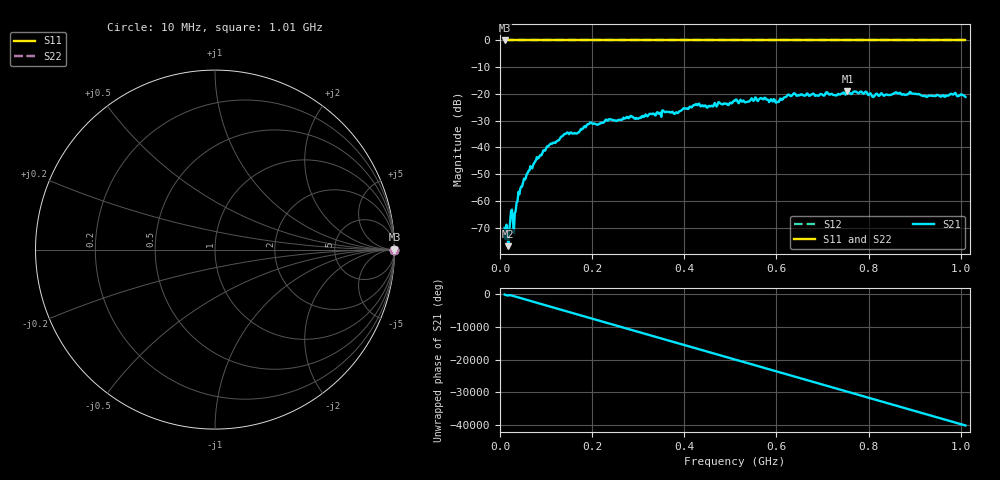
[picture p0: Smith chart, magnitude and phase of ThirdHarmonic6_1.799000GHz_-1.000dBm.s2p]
! 8/16/2025 9:46:39 PM
! C:\ANRITSUVNA\TEMP\TEMP.S2P
! CHANNEL.1
! TR.MEASUREMENT
! RAW.DATA
! RF.CORRECTION.OFF
! AVERAGING.OFF
! IF.BANDWIDTH: 5KHZ
! SWEEPTYPE:  FREQ.SWEEP(Linear)
! Reference Plane Port Info
! PORT:  PORT1  PORT2
! DISTANCE:  0  m  0  m
! TIME:  0  s  0  s
! PHASE.OFFSET:  0  deg.  0  deg.
! LOSS:  0  dB  0  dB
! REF.LOSS:  0  dB  0  dB
! REF.FREQ:  0  Hz  0  Hz
! Power Info
! POWER:  -20  dBm  -20  dBm
! EFF.POWER:  -20  dBm  -20  dBm
! SOURCE.ATTEN:  0  dB  0  dB
! TEST.ATTEN:  0  dB  0  dB
# GHZ S RI R 50.0
! FREQ.GHZ  S11RE  S11IM  S21RE  S21IM  S12RE  S12IM  S22RE  S22IM
!; PortSelection: Port_12
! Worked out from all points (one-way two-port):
!   501 points, 10 MHz to 1.01 GHz, reference 50 ohm
!   highest |S21| = -18.84 dB at 754 MHz (marker M1); lowest = -76.9 dB at 18 MHz (marker M2)
!   lowest |S11| = 0.0 dB at 10 MHz (marker M3)
!   |S11| at or under -10 dB: nowhere
!   |S22| runs from 0.0 to 0.0 dB; largest |S21 - S12| = 1.1
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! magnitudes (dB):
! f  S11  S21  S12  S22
! 10 MHz  0.0  -70.0  0.0  0.0
! 16 MHz  0.0  -71.8  0.0  0.0
! 18 MHz  0.0  -76.9  0.0  0.0
! 24 MHz  0.0  -63.8  0.0  0.0
! 32 MHz  0.0  -64.7  0.0  0.0
! 40 MHz  0.0  -56.6  0.0  0.0
! 48 MHz  0.0  -54.6  0.0  0.0
! 76 MHz  0.0  -45.3  0.0  0.0
! 106 MHz  0.0  -39.2  0.0  0.0
! 142 MHz  0.0  -34.9  0.0  0.0
! 178 MHz  0.0  -33.2  0.0  0.0
! 194 MHz  0.0  -31.1  0.0  0.0
! 344 MHz  0.0  -27.3  0.0  0.0
! 382 MHz  0.0  -26.8  0.0  0.0
! 428 MHz  0.0  -24.2  0.0  0.0
! 510 MHz  0.0  -22.5  0.0  0.0
! 602 MHz  0.0  -22.9  0.0  0.0
! 624 MHz  0.0  -20.4  0.0  0.0
! 678 MHz  0.0  -20.0  0.0  0.0
! 754 MHz  0.0  -18.8  0.0  0.0
! 844 MHz  0.0  -20.4  0.0  0.0
! 1.01 GHz  0.0  -21.1  0.0  0.0
